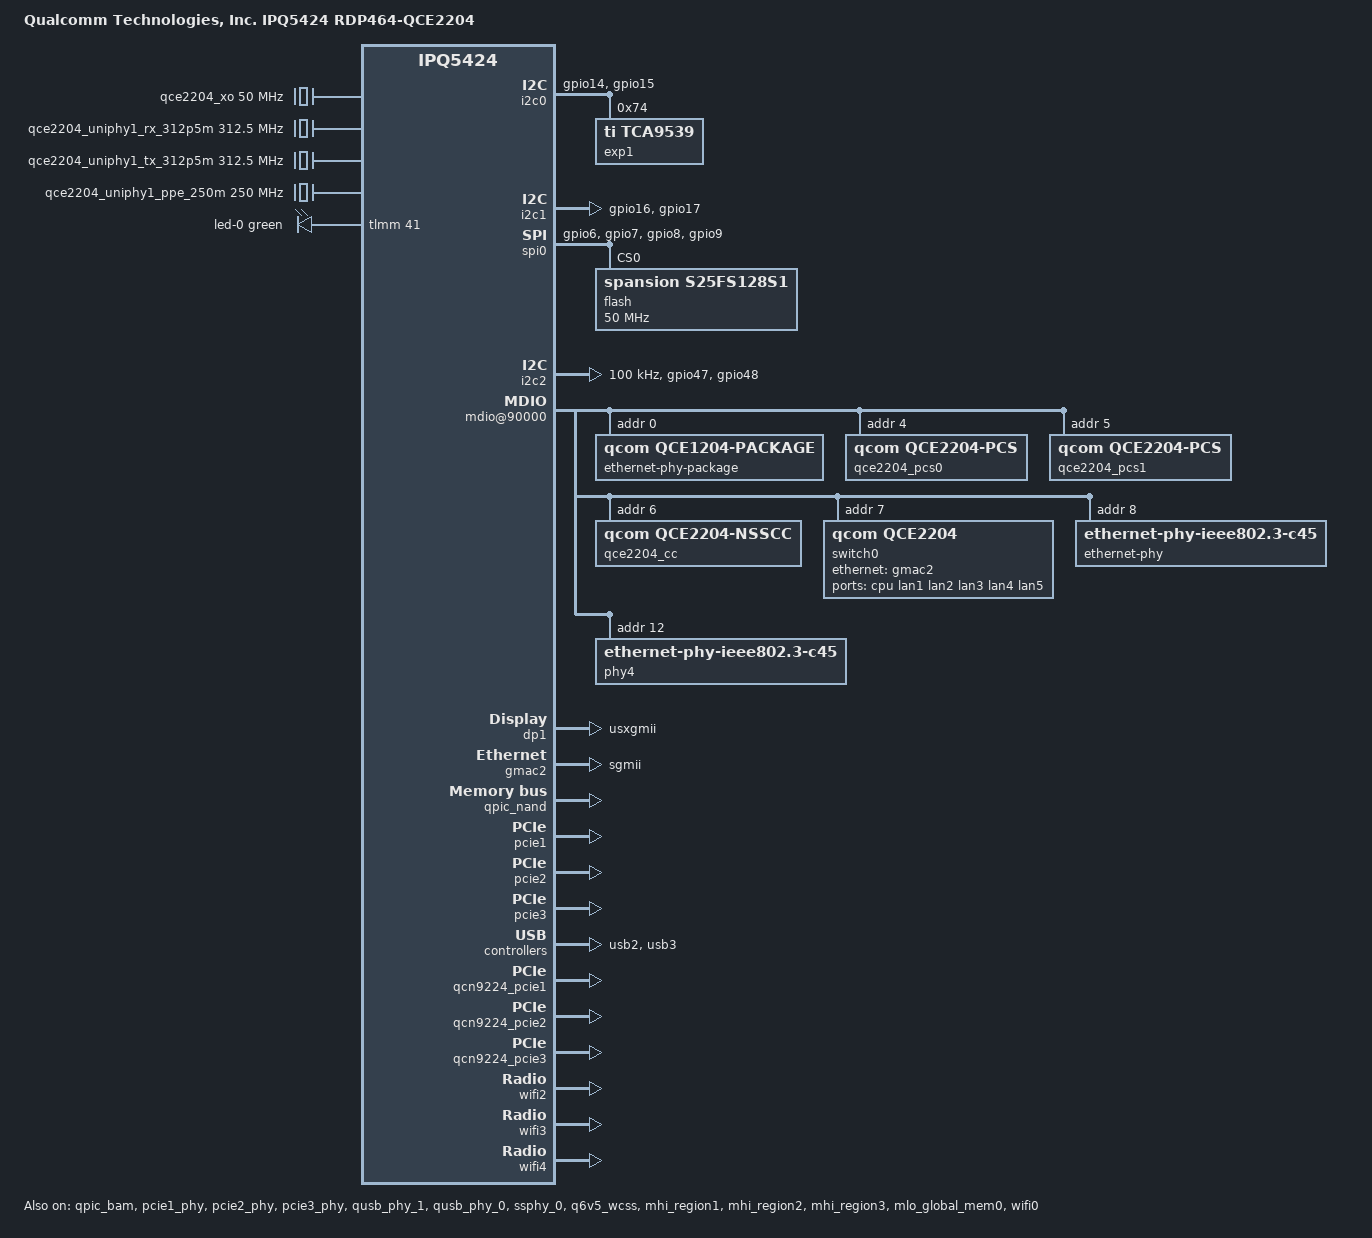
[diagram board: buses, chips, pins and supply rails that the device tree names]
// SPDX-License-Identifier: (GPL-2.0+ OR BSD-3-Clause)
/*
 * IPQ5424 RDP464-QCE2204 board device tree source
 *
 * Copyright (c) 2020-2021 The Linux Foundation. All rights reserved.
 * Copyright (c) Qualcomm Technologies, Inc. and/or its subsidiaries.
 */

/dts-v1/;

#include "ipq5424-rdp-common.dtsi"
#ifdef __IPQ_MEM_PROFILE_512_MB__
#include "ipq5424-512MB-default-memory.dtsi"
#else
#include "ipq5424-default-memory.dtsi"
#endif
#include <dt-bindings/clock/qcom,qce2204-nsscc.h>
#include <dt-bindings/clock/qcom,qce2204-pcs.h>
#include <dt-bindings/reset/qcom,qce2204-nsscc.h>

/ {
	model = "Qualcomm Technologies, Inc. IPQ5424 RDP464-QCE2204";
	compatible = "qcom,ipq5424-rdp464-qce2204", "qcom,ipq5424";

	clocks {
		qce2204_xo: qce2204-xo {
			compatible = "fixed-clock";
			clock-frequency = <50000000>;
			#clock-cells = <0>;
		};

		qce2204_uniphy1_rx_312p5m: qce2204-uniphy1-rx-312p5m {
			compatible = "fixed-clock";
			clock-frequency = <312500000>;
			#clock-cells = <0>;
		};

		qce2204_uniphy1_tx_312p5m: qce2204-uniphy1-tx-312p5m {
			compatible = "fixed-clock";
			clock-frequency = <312500000>;
			#clock-cells = <0>;
		};

		qce2204_uniphy1_ppe_250m: qce2204-uniphy1-ppe-250m {
			compatible = "fixed-clock";
			clock-frequency = <250000000>;
			#clock-cells = <0>;
		};
	};

	soc@0 {
		/delete-node/ apc-gpio-regulator;

		qupv3: geniqup@1ac0000 {

			i2c0: i2c@1a88000 {
				pinctrl-0 = <&qup_i2c0_default>;
				pinctrl-names = "default";
				status = "okay";

				exp1: gpio@74 {
					compatible = "ti,tca9539";
					reg = <0x74>;

					#gpio-cells = <2>;
					gpio-controller;

					io-exp-hog0 {
						gpio-hog;
						gpios = <0 GPIO_ACTIVE_HIGH>;
						output-low;
						line-name = "io_exp_gpio0";
					};

					io-exp-hog1 {
						gpio-hog;
						gpios = <1 GPIO_ACTIVE_HIGH>;
						output-high;
						line-name = "io_exp_gpio1";
					};

					io-exp-hog2 {
						gpio-hog;
						gpios = <2 GPIO_ACTIVE_HIGH>;
						output-low;
						line-name = "io_exp_gpio2";
					};

					io-exp-hog3 {
						gpio-hog;
						gpios = <3 GPIO_ACTIVE_HIGH>;
						output-high;
						line-name = "io_exp_gpio3";
					};

					io-exp-hog4 {
						gpio-hog;
						gpios = <4 GPIO_ACTIVE_HIGH>;
						output-high;
						line-name = "io_exp_gpio4";
					};

					io-exp-hog5 {
						gpio-hog;
						gpios = <5 GPIO_ACTIVE_HIGH>;
						output-high;
						line-name = "io_exp_gpio5";
					};

					io-exp-hog6 {
						gpio-hog;
						gpios = <6 GPIO_ACTIVE_HIGH>;
						output-high;
						line-name = "io_exp_gpio6";
					};

					io-exp-hog7 {
						gpio-hog;
						gpios = <7 GPIO_ACTIVE_HIGH>;
						output-high;
						line-name = "io_exp_gpio7";
					};

					io-exp-hog8 {
						gpio-hog;
						gpios = <8 GPIO_ACTIVE_HIGH>;
						output-high;
						line-name = "io_exp_gpio8";
					};

					io-exp-hog9 {
						gpio-hog;
						gpios = <9 GPIO_ACTIVE_HIGH>;
						output-high;
						line-name = "io_exp_gpio9";
					};

				};
			};

			i2c1: i2c@1a8c000 {
				pinctrl-0 = <&qup_i2c1_default>;
				pinctrl-names = "default";
				status = "okay";
			};

			spi0: spi@1a90000 {
				pinctrl-0 = <&qup_spi0_default>;
				pinctrl-names = "default";
				status = "okay";

				flash@0 {
					compatible = "spansion,s25fs128s1", "jedec,spi-nor";
					#address-cells = <1>;
					#size-cells = <1>;
					reg = <0>;
					spi-max-frequency = <50000000>;
				};
			};

			/delete-node/ spi@1a94000;

			i2c2: i2c@1a94000 {
				compatible = "qcom,geni-i2c";
				reg = <0x1a94000 0x4000>;
				/* i2c2 shares spi1 clock, so use spi1_clk as per gcc driver */
				clocks = <&gcc GCC_QUPV3_SPI1_CLK>;
				clock-names = "se";
				clock-frequency = <100000>;
				assigned-clocks = <&gcc GCC_QUPV3_SPI1_CLK>;
				assigned-clock-rates = <32000000>;
				interrupts = <GIC_SPI 344 IRQ_TYPE_LEVEL_HIGH>;
				pinctrl-0 = <&qup_i2c2_default>;
				pinctrl-names = "default";
				status = "okay";
			};
		};

		leds {
			compatible = "gpio-leds";
			pinctrl-0 = <&gpio_leds_default>;
			pinctrl-names = "default";

			led-0 {
				color = <LED_COLOR_ID_GREEN>;
				function = LED_FUNCTION_WLAN;
				gpios = <&tlmm 41 GPIO_ACTIVE_HIGH>;
				linux,default-trigger = "phy0tx";
				default-state = "off";
			};
		};

		mdio@90000 {
			/* Hold GPIO18 reset for Manhattan */
			/* GPIO36 is for port 1 QCA81xx PHY */
			/* GPIO37 is for huntington switch */
			phy-reset-gpio = <
				&tlmm 18 GPIO_ACTIVE_HIGH
				&tlmm 36 GPIO_ACTIVE_LOW
				&tlmm 37 GPIO_ACTIVE_LOW
			>;

			/* Delete properties from ipq5424-rdp-common.dtsi */
			/delete-property/ phyaddr_fixup;
			/delete-property/ uniphyaddr_fixup;
			/delete-property/ mdio_clk_fixup;

			/* Delete PHY nodes from ipq5424-rdp-common.dtsi */
			/delete-node/ ethernet-phy@0;
			/delete-node/ ethernet-phy@1;
			/delete-node/ ethernet-phy@2;
			/delete-node/ ethernet-phy@3;

			/* Delete switch node from ipq5424-rdp-common.dtsi */
			/delete-node/ switch0@10;

			ethernet-phy-package@0 {
				compatible = "qcom,qce1204-package";
				reg = <0x0>;
				qcom,package-mode = "internal";
				#address-cells = <1>;
				#size-cells = <0>;

				phy0: ethernet-phy@0 {
					compatible ="ethernet-phy-ieee802.3-c45";
					reg = <0x0>;
					clocks = <&qce2204_cc QCE2204_NSSCC_MAC1_GEPHY0_TX_CLK>,
						 <&qce2204_cc QCE2204_NSSCC_MAC1_GEPHY0_RX_CLK>,
						 <&qce2204_cc QCE2204_NSSCC_GEPHY0_SYS_CLK>;
					clock-names = "tx_clk",
						      "rx_clk",
						      "sys_clk";
					resets = <&qce2204_cc QCE2204_NSSCC_MAC1_GEPHY0_TX_ARES>,
						 <&qce2204_cc QCE2204_NSSCC_MAC1_GEPHY0_RX_ARES>,
						 <&qce2204_cc QCE2204_NSSCC_GEPHY0_SYS_ARES>;
					reset-names = "tx_reset",
						      "rx_reset",
						      "sys_reset";
				};
				phy1: ethernet-phy@1 {
					compatible ="ethernet-phy-ieee802.3-c45";
					reg = <0x1>;
					clocks = <&qce2204_cc QCE2204_NSSCC_MAC2_GEPHY1_TX_CLK>,
						 <&qce2204_cc QCE2204_NSSCC_MAC2_GEPHY1_RX_CLK>,
						 <&qce2204_cc QCE2204_NSSCC_GEPHY1_SYS_CLK>;
					clock-names = "tx_clk",
						      "rx_clk",
						      "sys_clk";
					resets = <&qce2204_cc QCE2204_NSSCC_MAC2_GEPHY1_TX_ARES>,
						 <&qce2204_cc QCE2204_NSSCC_MAC2_GEPHY1_RX_ARES>,
						 <&qce2204_cc QCE2204_NSSCC_GEPHY1_SYS_ARES>;
					reset-names = "tx_reset",
						      "rx_reset",
						      "sys_reset";
				};
				phy2: ethernet-phy@2 {
					compatible ="ethernet-phy-ieee802.3-c45";
					reg = <0x2>;
					clocks = <&qce2204_cc QCE2204_NSSCC_MAC3_GEPHY2_TX_CLK>,
						 <&qce2204_cc QCE2204_NSSCC_MAC3_GEPHY2_RX_CLK>,
						 <&qce2204_cc QCE2204_NSSCC_GEPHY2_SYS_CLK>;
					clock-names = "tx_clk",
						      "rx_clk",
						      "sys_clk";
					resets = <&qce2204_cc QCE2204_NSSCC_MAC3_GEPHY2_TX_ARES>,
						 <&qce2204_cc QCE2204_NSSCC_MAC3_GEPHY2_RX_ARES>,
						 <&qce2204_cc QCE2204_NSSCC_GEPHY2_SYS_ARES>;
					reset-names = "tx_reset",
						      "rx_reset",
						      "sys_reset";
				};
				phy3: ethernet-phy@3 {
					compatible ="ethernet-phy-ieee802.3-c45";
					reg = <0x3>;
					clocks = <&qce2204_cc QCE2204_NSSCC_MAC4_GEPHY3_TX_CLK>,
						 <&qce2204_cc QCE2204_NSSCC_MAC4_GEPHY3_RX_CLK>,
						 <&qce2204_cc QCE2204_NSSCC_GEPHY3_SYS_CLK>;
					clock-names = "tx_clk",
						      "rx_clk",
						      "sys_clk";
					resets = <&qce2204_cc QCE2204_NSSCC_MAC4_GEPHY3_TX_ARES>,
						 <&qce2204_cc QCE2204_NSSCC_MAC4_GEPHY3_RX_ARES>,
						 <&qce2204_cc QCE2204_NSSCC_GEPHY3_SYS_ARES>;
					reset-names = "tx_reset",
						      "rx_reset",
						      "sys_reset";
				};
			};

			qce2204_pcs0: ethernet-phy@4 {
				compatible = "qcom,qce2204-pcs";
				reg = <4>;
				clocks = <&qce2204_cc QCE2204_NSSCC_SRDS0_SYS_CLK>,
					 <&qce2204_cc QCE2204_NSSCC_MAC5_RX_SRDS0_CLK>,
					 <&qce2204_cc QCE2204_NSSCC_MAC5_TX_SRDS0_CLK>,
					 <&qce2204_cc QCE2204_NSSCC_MAC5_RX_SRDS0_CH0_XGMII_CLK>,
					 <&qce2204_cc QCE2204_NSSCC_MAC5_TX_SRDS0_CH0_XGMII_CLK>;
				clock-names = "sys",
					      "rx",
					      "tx",
					      "xgmii_rx",
					      "xgmii_tx";
				resets = <&qce2204_cc QCE2204_NSSCC_SRDS0_SYS_ARES>,
					 <&qce2204_cc QCE2204_NSSCC_MAC5_RX_SRDS0_ARES>,
					 <&qce2204_cc QCE2204_NSSCC_MAC5_TX_SRDS0_ARES>,
					 <&qce2204_cc QCE2204_NSSCC_MAC5_RX_SRDS0_CH0_XGMII_ARES>,
					 <&qce2204_cc QCE2204_NSSCC_MAC5_TX_SRDS0_CH0_XGMII_ARES>,
					 <&qce2204_cc QCE2204_NSSCC_SRDS0_XPCS_ARES>;
				reset-names = "sys",
					      "rx",
					      "tx",
					      "xgmii_rx",
					      "xgmii_tx",
					      "xpcs";
				initial_mode = "usxgmii";
				#clock-cells = <1>;
				assigned-clocks = <&qce2204_cc QCE2204_NSSCC_SRDS0_SYS_CLK>;
				assigned-clock-rates = <25000000>;
			};

			qce2204_pcs1: ethernet-phy@5 {
				compatible = "qcom,qce2204-pcs";
				reg = <5>;
				clocks = <&qce2204_cc QCE2204_NSSCC_SRDS1_SYS_CLK>,
					 <&qce2204_cc QCE2204_NSSCC_MAC1_SRDS1_CH0_RX_CLK>,
					 <&qce2204_cc QCE2204_NSSCC_MAC1_SRDS1_CH0_TX_CLK>,
					 <&qce2204_cc QCE2204_NSSCC_MAC0_1_SRDS1_CH0_XGMII_RX_CLK>,
					 <&qce2204_cc QCE2204_NSSCC_MAC0_1_SRDS1_CH0_XGMII_TX_CLK>;
				clock-names = "sys",
					      "rx",
					      "tx",
					      "xgmii_rx",
					      "xgmii_tx";
				resets = <&qce2204_cc QCE2204_NSSCC_SRDS1_SYS_ARES>,
					 <&qce2204_cc QCE2204_NSSCC_MAC1_SRDS1_CH0_RX_ARES>,
					 <&qce2204_cc QCE2204_NSSCC_MAC1_SRDS1_CH0_TX_ARES>,
					 <&qce2204_cc QCE2204_NSSCC_MAC0_1_SRDS1_CH0_XGMII_RX_ARES>,
					 <&qce2204_cc QCE2204_NSSCC_MAC0_1_SRDS1_CH0_XGMII_TX_ARES>,
					 <&qce2204_cc QCE2204_NSSCC_SRDS1_XPCS_ARES>;
				reset-names = "sys",
					      "rx",
					      "tx",
					      "xgmii_rx",
					      "xgmii_tx",
					      "xpcs";
				initial_mode = "10gbase-r";
				#clock-cells = <1>;
				assigned-clocks = <&qce2204_cc QCE2204_NSSCC_SRDS1_SYS_CLK>;
				assigned-clock-rates = <25000000>;
			};

			/* Clock controller */
			qce2204_cc: clock-controller@6 {
				compatible = "qcom,qce2204-nsscc";
				reg = <6>;
				#clock-cells = <1>;
				#reset-cells = <1>;
				clocks = <&qce2204_xo>,
					 <&qce2204_pcs0 QCE2204_PCS_RX_CLK>,
					 <&qce2204_pcs0 QCE2204_PCS_TX_CLK>,
					 <&qce2204_pcs1 QCE2204_PCS_RX_CLK>,
					 <&qce2204_pcs1 QCE2204_PCS_TX_CLK>,
					 <&qce2204_uniphy1_ppe_250m>,
					 <0>,
					 <0>,
					 <0>,
					 <&qce2204_uniphy1_tx_312p5m>;
				clock-names = "xo",
					      "uniphy0_rx",
					      "uniphy0_tx",
					      "uniphy1_rx",
					      "uniphy1_tx",
					      "uniphy1_ppe_250m",
					      "uniphy0_rx_312p5m",
					      "uniphy0_tx_312p5m",
					      "uniphy1_rx_312p5m",
					      "uniphy1_tx_312p5m";
				assigned-clocks = <&qce2204_cc QCE2204_NSSCC_SRDS0_RX_MUX_SEL>,
					      <&qce2204_cc QCE2204_NSSCC_SRDS0_TX_MUX_SEL>,
					      <&qce2204_cc QCE2204_NSSCC_SRDS0_XGMII_RX_MUX_SEL>,
					      <&qce2204_cc QCE2204_NSSCC_SRDS0_XGMII_TX_MUX_SEL>;
				assigned-clock-parents = <&qce2204_cc QCE2204_NSSCC_MAC5_RX_DIV_CLK_SRC>,
					      <&qce2204_cc QCE2204_NSSCC_MAC5_TX_DIV_CLK_SRC>,
					      <&qce2204_cc QCE2204_NSSCC_MAC5_RX_DIV_CLK_SRC>,
					      <&qce2204_cc QCE2204_NSSCC_MAC5_TX_DIV_CLK_SRC>;
			};

			switch0@7 {
				compatible = "qcom,qce2204";
				#address-cells = <1>;
				#size-cells = <0>;
				reg = <0x7>;
				status = "okay";

				clocks = <&qce2204_cc QCE2204_NSSCC_AHB_CLK>,
					 <&qce2204_cc QCE2204_NSSCC_SWITCH_CORE_CLK>,
					 <&qce2204_cc QCE2204_NSSCC_SWITCH_IPE_CLK>,
					 <&qce2204_cc QCE2204_NSSCC_SWITCH_BTQ_CLK>,
					 <&qce2204_cc QCE2204_NSSCC_SWITCH_CFG_CLK>,
					 <&qce2204_cc QCE2204_NSSCC_APB_BRIDGE_CLK>;
				clock-names = "ahb",
					      "core",
					      "ipe",
					      "btq",
					      "cfg",
					      "apb";
				resets = <&qce2204_cc QCE2204_NSSCC_SWITCH_CORE_BCR>,
					<&qce2204_cc QCE2204_NSSCC_SWITCH_CORE_ARES>,
					<&qce2204_cc QCE2204_NSSCC_SWITCH_CFG_ARES>;
				reset-names = "core",
						"core_clk_reset",
						"cfg_clk_reset";

				ports {
					#address-cells = <1>;
					#size-cells = <0>;

					port@0 {
						reg = <0>;
						label = "cpu";
						ethernet = <&gmac2>;
						dsa-tag-protocol = "qca_8021q";
						phy-mode = "10gbase-r";
						pcsphy-handle = <&qce2204_pcs1>;
						clocks = <&qce2204_cc QCE2204_NSSCC_MAC0_TX_CLK>,
							 <&qce2204_cc QCE2204_NSSCC_MAC0_RX_CLK>;
						clock-names = "tx",
							      "rx";
						resets = <&qce2204_cc QCE2204_NSSCC_MAC0_TX_ARES>,
							 <&qce2204_cc QCE2204_NSSCC_MAC0_RX_ARES>;
						reset-names = "tx",
							      "rx";
						fixed-link {
							speed = <10000>;
							full-duplex;
							pause;
						};
					};

					port@1 {
						reg = <1>;
						label = "lan1";
						phy-handle = <&phy0>;
						phy-mode = "internal";
						clocks = <&qce2204_cc QCE2204_NSSCC_MAC1_TX_CLK>,
							 <&qce2204_cc QCE2204_NSSCC_MAC1_RX_CLK>;
						clock-names = "tx",
							      "rx";
						resets = <&qce2204_cc QCE2204_NSSCC_MAC1_TX_ARES>,
							 <&qce2204_cc QCE2204_NSSCC_MAC1_RX_ARES>;
						reset-names = "tx",
							      "rx";
					};

					port@2 {
						reg = <2>;
						label = "lan2";
						phy-handle = <&phy1>;
						phy-mode = "internal";
						clocks = <&qce2204_cc QCE2204_NSSCC_MAC2_TX_CLK>,
							 <&qce2204_cc QCE2204_NSSCC_MAC2_RX_CLK>;
						clock-names = "tx",
							      "rx";
						resets = <&qce2204_cc QCE2204_NSSCC_MAC2_TX_ARES>,
							 <&qce2204_cc QCE2204_NSSCC_MAC2_RX_ARES>;
						reset-names = "tx",
							      "rx";
					};

					port@3 {
						reg = <3>;
						label = "lan3";
						phy-handle = <&phy2>;
						phy-mode = "internal";
						clocks = <&qce2204_cc QCE2204_NSSCC_MAC3_TX_CLK>,
							 <&qce2204_cc QCE2204_NSSCC_MAC3_RX_CLK>;
						clock-names = "tx",
							      "rx";
						resets = <&qce2204_cc QCE2204_NSSCC_MAC3_TX_ARES>,
							 <&qce2204_cc QCE2204_NSSCC_MAC3_RX_ARES>;
						reset-names = "tx",
							      "rx";
					};

					port@4 {
						reg = <4>;
						label = "lan4";
						phy-handle = <&phy3>;
						phy-mode = "internal";
						clocks = <&qce2204_cc QCE2204_NSSCC_MAC4_TX_CLK>,
							 <&qce2204_cc QCE2204_NSSCC_MAC4_RX_CLK>;
						clock-names = "tx",
							      "rx";
						resets = <&qce2204_cc QCE2204_NSSCC_MAC4_TX_ARES>,
							 <&qce2204_cc QCE2204_NSSCC_MAC4_RX_ARES>;
						reset-names = "tx",
							      "rx";
					};

					port@5 {
						reg = <5>;
						label = "lan5";
						phy-handle = <&phy4>;
						pcsphy-handle = <&qce2204_pcs0>;
						phy-mode = "usxgmii";
						clocks = <&qce2204_cc QCE2204_NSSCC_MAC5_TX_CLK>,
							 <&qce2204_cc QCE2204_NSSCC_MAC5_RX_CLK>;
						clock-names = "tx",
							      "rx";
						resets = <&qce2204_cc QCE2204_NSSCC_MAC5_TX_ARES>,
							 <&qce2204_cc QCE2204_NSSCC_MAC5_RX_ARES>;
						reset-names = "tx",
							      "rx";
					};
				};
			};

			ethernet-phy@8 {
				reg = <8>;
				compatible ="ethernet-phy-ieee802.3-c45";
			};

			phy4: ethernet-phy@12 {
				reg = <12>;
				compatible ="ethernet-phy-ieee802.3-c45";
			};
		};

		ess-instance {
			num_devices = <0x2>;
#ifdef __CONFIG_IO_COHERENCY__
			dma-coherent;
#endif
			ess-switch@3a000000 {
#ifdef __CONFIG_IO_COHERENCY__
				dma-coherent;
#endif
				switch_cpu_bmp = <0x1>;  /* cpu port bitmap */
				switch_lan_bmp = <0x4>; /* lan port bitmap */
				switch_wan_bmp = <0x2>; /* wan port bitmap */
				switch_mac_mode = <0xd>; /* mac mode for uniphy instance0*/
				switch_mac_mode1 = <0xe>; /* mac mode for uniphy instance1*/
				switch_mac_mode2 = <0xff>; /* mac mode for uniphy instance2*/
				tm_tick_mode = <1>; /* marina 3X10G mode */

				qcom,port_phyinfo {
					port@0 {
						port_id = <1>;
						phy_address = <8>;
						ethernet-phy-ieee802.3-c45;
					};
					port@1 {
						port_id = <2>;
						forced-speed = <10000>;
						forced-duplex = <1>;
						switch_external {
							switch_handle = <&switch1>;
							switch_cpu_port = <0>;
						};
						fixed-link {
							speed = <10000>;
							full-duplex;
							pause;
						};
					};
					/delete-node/ port@2;
				};
			};

			ess-switch1@1 {
#ifdef __CONFIG_IO_COHERENCY__
				dma-coherent;
#endif
				compatible = "qcom,ess-switch-qce22xx";
				reg = <0x7>;
				switch_lan_bmp = <0x3e>;
				switch_mac_mode = <0xe>;
				/delete-node/ qcom,port_ledinfo;

				qcom,port_phyinfo {
					port@0 {
						forced-speed = <10000>;
					};
					port@1 {
						phy_address = <0>;
						ethernet-phy-ieee802.3-c45;
					};
					port@2 {
						phy_address = <1>;
						ethernet-phy-ieee802.3-c45;
					};
					port@3 {
						phy_address = <2>;
						ethernet-phy-ieee802.3-c45;
					};
					port@4 {
						phy_address = <3>;
						ethernet-phy-ieee802.3-c45;
					};
					port@5 {
						port_id = <5>;
						phy_address = <12>;
						ethernet-phy-ieee802.3-c45;
					};
				};
			};
		};

		dp1 {
			device_type = "network";
			compatible = "qcom,nss-dp";
#ifdef __CONFIG_IO_COHERENCY__
			dma-coherent;
#endif
			qcom,id = <1>;
			reg = <0x3A500000 0x4000>;
			qcom,mactype = <1>;
			local-mac-address = [000000000000];
			qcom,phy-mdio-addr = <8>;
			qcom,link-poll = <1>;
			phy-mode = "usxgmii";
		};

		gmac2:dp2 {
			device_type = "network";
			compatible = "qcom,nss-dp";
#ifdef __CONFIG_IO_COHERENCY__
			dma-coherent;
#endif
			qcom,id = <2>;
			reg = <0x3A504000 0x4000>;
			qcom,mactype = <1>;
			local-mac-address = [000000000000];
			qcom,mht-dev = <1>;
			qcom,is_switch_connected = <1>;
			phy-mode = "sgmii";
			qcom,ppe-offload-disabled = <1>;
		};

		/* EDMA host driver configuration for the board */
		edma@3ab00000 {
#ifdef __CONFIG_IO_COHERENCY__
			dma-coherent;
#endif
			qcom,txdesc-ring-start = <4>;		/* Tx desc ring start ID */
			qcom,txdesc-rings = <16>;		/* Total number of Tx desc rings to be provisioned */
			qcom,mht-txdesc-rings = <12>;		/* Extra Tx desc rings to be provisioned for MHT SW ports */
			qcom,txcmpl-ring-start = <4>;		/* Tx complete ring start ID */
			qcom,txcmpl-rings = <16>;		/* Total number of Tx complete rings to be provisioned */
			qcom,mht-txcmpl-rings = <12>;		/* Extra Tx complete rings to be provisioned for mht sw ports. */
			qcom,rxfill-ring-start = <4>;		/* Rx fill ring start ID */
			qcom,rxfill-rings = <4>;		/* Total number of Rx fill rings to be provisioned */
			qcom,rxdesc-ring-start = <20>;		/* Rx desc ring start ID */
			qcom,rxdesc-rings = <4>;		/* Total number of Rx desc rings to be provisioned */
			qcom,rx-page-mode = <0>;		/* Rx fill ring page mode */
			qcom,tx-map-priority-level = <1>;	/* Tx priority level per port */
			qcom,rx-map-priority-level = <1>;	/* Rx priority level per core */
			qcom,ppeds-num = <4>;			/* Number of PPEDS nodes */
			/* PPE-DS node format: <Rx-fill Tx-cmpl Rx Tx Queue-base Queue-count> */
			qcom,ppeds-map = <1 1 1 1 32 8>,	/* PPEDS Node #0 ring and queue map */
					<2 2 2 2 40 8>,		/* PPEDS Node #1 ring and queue map */
					<3 3 3 3 48 8>,		/* PPEDS Node #2 ring and queue map */
					<0 0 0 0 56 8>;		/* PPEDS Node #3 ring and queue map */
			qcom,txdesc-map = <4 5 6 7>,		/* Port1 per-core Tx ring map */
					<8 9 10 11>,		/* Port2 per-core Tx ring map */
					<12 13 14 15>,		/* MHT-Port1 per-core Tx ring map */
					<16 17 18 19>,		/* MHT-Port2 per-core Tx ring map */
					<20 21 22 23>,		/* MHT-Port3 per-core Tx ring map */
					<24 25 26 27>,		/* MHT-Port4 per-core Tx ring map */
					<28 29 30 31>;		/* Used only for packets from VP */
			qcom,txdesc-fc-grp-map = <1 2 3 4 5 6>;	/* Per GMAC flow control group map */
			qcom,rxfill-map = <4 5 6 7>;		/* Per-core Rx fill ring map */
			qcom,rxdesc-map = <20 21 22 23>;	/* Per-core Rx desc ring map */
			qcom,rx-queue-start = <0>;		/* Rx queue start */
			qcom,rx-ring-queue-map = <0 8 16 24>,	/* Priority 0 queues per-core Rx ring map */
						<1 9 17 25>,	/* Priority 1 queues per-core Rx ring map */
						<2 10 18 26>,	/* Priority 2 queues per-core Rx ring map */
						<3 11 19 27>,	/* Priority 3 queues per-core Rx ring map */
						<4 12 20 28>,	/* Priority 4 queues per-core Rx ring map */
						<5 13 21 29>,	/* Priority 5 queues per-core Rx ring map */
						<6 14 22 30>,	/* Priority 6 queues per-core Rx ring map */
						<7 15 23 31>;	/* Priority 7 queues per-core Rx ring map */
			interrupts = <0 286 4>,			/* Tx complete ring id #4 IRQ info */
					<0 287 4>,		/* Tx complete ring id #5 IRQ info */
					<0 288 4>,		/* Tx complete ring id #6 IRQ info */
					<0 289 4>,		/* Tx complete ring id #7 IRQ info */
					<0 290 4>,		/* Tx complete ring id #8 IRQ info */
					<0 291 4>,		/* Tx complete ring id #9 IRQ info */
					<0 292 4>,		/* Tx complete ring id #10 IRQ info */
					<0 293 4>,		/* Tx complete ring id #11 IRQ info */
					<0 294 4>,		/* Tx complete ring id #12 IRQ info */
					<0 295 4>,		/* Tx complete ring id #13 IRQ info */
					<0 296 4>,		/* Tx complete ring id #14 IRQ info */
					<0 297 4>,		/* Tx complete ring id #15 IRQ info */
					<0 298 4>,		/* Tx complete ring id #16 IRQ info */
					<0 299 4>,		/* Tx complete ring id #17 IRQ info */
					<0 300 4>,		/* Tx complete ring id #18 IRQ info */
					<0 301 4>,		/* Tx complete ring id #19 IRQ info */
					<0 270 4>,		/* Rx desc ring id #20 IRQ info */
					<0 271 4>,		/* Rx desc ring id #21 IRQ info */
					<0 272 4>,		/* Rx desc ring id #22 IRQ info */
					<0 273 4>,		/* Rx desc ring id #23 IRQ info */
					<0 314 4>,		/* Misc error IRQ info */
					<0 278 4>,		/* RxFill ring id #4 IRQ info */
					<0 279 4>,		/* RxFill ring id #5 IRQ info */
					<0 280 4>,		/* RxFill ring id #6 IRQ info */
					<0 281 4>,		/* RxFill ring id #7 IRQ info */
					<0 283 4>,		/* PPEDS Node #0(TxComp ring id #1) TxComplete IRQ info */
					<0 251 4>,		/* PPEDS Node #0(Rx Desc ring id #1) Rx Desc IRQ info */
					<0 275 4>,		/* PPEDS Node #0(RxFill Desc ring id #1) Rx Fill IRQ info */
					<0 284 4>,		/* PPEDS Node #1(TxComp ring id #2) TxComplete IRQ info */
					<0 252 4>,		/* PPEDS Node #1(Rx Desc ring id #2) Rx Desc IRQ info */
					<0 276 4>,		/* PPEDS Node #1(RxFill Desc ring id #2) Rx Fill IRQ info */
					<0 285 4>,		/* PPEDS Node #2(TxComp ring id #3) TxComplete IRQ info */
					<0 253 4>,		/* PPEDS Node #2(Rx Desc ring id #3) Rx Desc IRQ info */
					<0 277 4>,		/* PPEDS Node #2(RxFill Desc ring id #3) Rx Fill IRQ info */
					<0 282 4>,		/* PPEDS Node #3(TxComp ring id #0) TxComplete IRQ info */
					<0 250 4>,		/* PPEDS Node #3(Rx Desc ring id #0) Rx Desc IRQ info */
					<0 274 4>,		/* PPEDS Node #3(RxFill Desc ring id #0) Rx Fill IRQ info */
					<0 302 4>,		/* MHT port Tx complete ring id #20 IRQ info */
					<0 303 4>,		/* MHT port Tx complete ring id #21 IRQ info */
					<0 304 4>,		/* MHT port Tx complete ring id #22 IRQ info */
					<0 305 4>,		/* MHT port Tx complete ring id #23 IRQ info */
					<0 306 4>,		/* MHT port Tx complete ring id #24 IRQ info */
					<0 307 4>,		/* MHT port Tx complete ring id #25 IRQ info */
					<0 308 4>,		/* MHT port Tx complete ring id #26 IRQ info */
					<0 309 4>,		/* MHT port Tx complete ring id #27 IRQ info */
					<0 310 4>,		/* MHT port Tx complete ring id #28 IRQ info */
					<0 311 4>,		/* MHT port Tx complete ring id #29 IRQ info */
					<0 312 4>,		/* MHT port Tx complete ring id #30 IRQ info */
					<0 313 4>;		/* MHT port Tx complete ring id #31 IRQ info */
		};

		wsi: wsi {
			id = <0>;
			num_chip = <4>;
			chip_info = <0 2 1 3>,
				    <1 2 0 2>,
				    <2 2 3 1>,
				    <3 2 2 0>;
			status = "okay";
		};
	};
};

&CPU0 {
	/delete-property/ cpu-supply;
};

&CPU1 {
	/delete-property/ cpu-supply;
};

&CPU2 {
	/delete-property/ cpu-supply;
};

&CPU3 {
	/delete-property/ cpu-supply;
};

&qpic_bam {
	status = "okay";
};

&qpic_nand {
	status = "okay";
};

&sdhc {
	max-frequency = <192000000>;
	bus-width = <4>;
	mmc-ddr-1_8v;
	mmc-hs200-1_8v;
	non-removable;
	pinctrl-0 = <&sdc_default_state>;
	pinctrl-names = "default";
	status = "disabled";
};

&pcie0 {
	perst-gpio = <&tlmm 25 GPIO_ACTIVE_LOW>;

	pcie0_rp {
		reg = <0 0 0 0 0>;
	};
};

&pcie1_phy {
	status = "okay";
};

&pcie1 {
	status = "okay";
	perst-gpio = <&tlmm 28 GPIO_ACTIVE_LOW>;

	pcie1_rp {
		reg = <0 0 0 0 0>;

		qcom,mhi@1 {
			reg = <0 0 0 0 0>;
			boot-args = <0x2 0x4 0x34 0x3 0x0 0x0     /* MX Rail, GPIO52, Drive strength 0x3 */
					0x4 0x4 0x18 0x3 0x0 0x0  /* RFA1p2 Rail, GPIO24, Drive strength 0x3 */
					0x6 0x4 0x30 0x7 0x0 0x0  /* WSI0, GPIO48, Drive strength 16mA */
					0x7 0x4 0x31 0x7 0x0 0x0  /* WSI1, GPIO49, Drive strength 16mA */
					0x0 0x4 0x0 0x0 0x0 0x0>; /* End of arguments */
			memory-region = <&qcn9224_pcie1>, <&mhi_region1>, <&mlo_global_mem0>;
			memory-region-names = "host-ddr-mem", "mhi-region", "mlo-global-mem";
			qcom,board_id = <0x21>;
			qcom,wsi = <&wsi>;
			qcom,wsi_index = <2>;
			ports {
				#address-cells = <1>;
				#size-cells = <0>;

				port@0 {
					reg = <0>;

					wifi1_wsi_tx: endpoint {
						remote-endpoint = <&wifi2_wsi_rx>;
					};
				};

				port@1 {
					reg = <1>;

					wifi1_wsi_rx: endpoint {
						remote-endpoint = <&wifi3_wsi_tx>;
					};
				};
			};
		};
	};
};

&pcie2_phy {
	status = "okay";
};

&pcie2 {
	status = "okay";
	perst-gpio = <&tlmm 31 GPIO_ACTIVE_LOW>;

	pcie2_rp {
		reg = <0 0 0 0 0>;

		qcom,mhi@2 {
			reg = <0 0 0 0 0>;
			boot-args = <0x2 0x4 0x34 0x3 0x0 0x0     /* MX Rail, GPIO52, Drive strength 0x3 */
					0x4 0x4 0x18 0x3 0x0 0x0  /* RFA1p2 Rail, GPIO24, Drive strength 0x3 */
					0x6 0x4 0x30 0x7 0x0 0x0  /* WSI0, GPIO48, Drive strength 16mA */
					0x7 0x4 0x31 0x7 0x0 0x0  /* WSI1, GPIO49, Drive strength 16mA */
					0x0 0x4 0x0 0x0 0x0 0x0>; /* End of arguments */
			memory-region = <&qcn9224_pcie2>, <&mhi_region2>, <&mlo_global_mem0>;
			memory-region-names = "host-ddr-mem", "mhi-region", "mlo-global-mem";
			qcom,board_id = <0x26>;
			qcom,wsi = <&wsi>;
			qcom,wsi_index = <3>;
			ports {
				#address-cells = <1>;
				#size-cells = <0>;

				port@0 {
					reg = <0>;

					wifi2_wsi_tx: endpoint {
						remote-endpoint = <&wifi0_wsi_rx>;
					};
				};

				port@1 {
					reg = <1>;

					wifi2_wsi_rx: endpoint {
						remote-endpoint = <&wifi1_wsi_tx>;
					};
				};
			};
		};
	};
};

&pcie3_phy {
	status = "okay";
};

&pcie3 {
	status = "okay";
	perst-gpio = <&tlmm 34 GPIO_ACTIVE_LOW>;

	pcie3_rp {
		reg = <0 0 0 0 0>;

		qcom,mhi@3 {
			reg = <0 0 0 0 0>;
			boot-args = <0x2 0x4 0x34 0x3 0x0 0x0     /* MX Rail, GPIO52, Drive strength 0x3 */
					0x4 0x4 0x18 0x3 0x0 0x0  /* RFA1p2 Rail, GPIO24, Drive strength 0x3 */
					0x6 0x4 0x30 0x7 0x0 0x0  /* WSI0, GPIO48, Drive strength 16mA */
					0x7 0x4 0x31 0x7 0x0 0x0  /* WSI1, GPIO49, Drive strength 16mA */
					0x0 0x4 0x0 0x0 0x0 0x0>; /* End of arguments */
			memory-region = <&qcn9224_pcie3>, <&mhi_region3>, <&mlo_global_mem0>;
			memory-region-names = "host-ddr-mem", "mhi-region", "mlo-global-mem";
			qcom,board_id = <0x22>;
			qcom,wsi = <&wsi>;
			qcom,wsi_index = <1>;

			ports {
				#address-cells = <1>;
				#size-cells = <0>;

				port@0 {
					reg = <0>;

					wifi3_wsi_tx: endpoint {
						remote-endpoint = <&wifi1_wsi_rx>;
					};
				};

				port@1 {
					reg = <1>;

					wifi3_wsi_rx: endpoint {
						remote-endpoint = <&wifi0_wsi_tx>;
					};
				};
			};
		};
	};
};

&reg_update {
	aggr-noc-config = <0x00610908 0x80>, /* aggr_noc_pcie1 */
			  <0x00610a08 0x80>, /* aggr_noc_pcie2 */
			  <0x00610b08 0x80>; /* aggr_noc_pcie3 */
};

&qusb_phy_1 {
	vdd-supply = <&vreg_misc_0p925>;
	vdda-pll-supply = <&vreg_misc_1p8>;
	vdda-phy-dpdm-supply = <&vreg_misc_3p3>;

	status = "okay";
};

&usb2 {
	status = "okay";
};

&qusb_phy_0 {
	vdd-supply = <&vreg_misc_0p925>;
	vdda-pll-supply = <&vreg_misc_1p8>;
	vdda-phy-dpdm-supply = <&vreg_misc_3p3>;

	status = "okay";
};

&ssphy_0 {
	vdda-pll-supply = <&vreg_misc_1p8>;
	vdda-phy-supply = <&vreg_misc_0p925>;

	status = "okay";
};

&usb3 {
	status = "okay";
};

&q6v5_wcss {
	status = "okay";
};

&tlmm {
	gpio_leds_default: gpio-leds-default-state {
		pins = "gpio41";
		function = "gpio";
		drive-strength = <4>;
		bias-pull-down;
	};

	pcie0_default_state: pcie0-default-state {
		perst-n-pins {
			pins = "gpio25";
			function = "gpio";
			drive-strength = <8>;
			bias-pull-up;
			output-low;
		};
	};

	pcie1_default_state: pcie1-default-state {
		perst-n-pins {
			pins = "gpio28";
			function = "gpio";
			drive-strength = <8>;
			bias-pull-up;
			output-low;
		};
	};

	pcie2_default_state: pcie2-default-state {
		perst-n-pins {
			pins = "gpio31";
			function = "gpio";
			drive-strength = <8>;
			bias-pull-up;
			output-low;
		};
	};

	pcie3_default_state: pcie3-default-state {
		perst-n-pins {
			pins = "gpio34";
			function = "gpio";
			drive-strength = <8>;
			bias-pull-up;
			output-low;
		};
	};

	/delete-node/ regulator-gpio;

	qup_i2c0_default: qup-i2c0-default-state {
		qup_i2c0_scl {
			pins = "gpio14";
			function = "i2c0_scl";
			drive-strength = <8>;
			bias-pull-up;
		};
		qup_i2c0_sda {
			pins = "gpio15";
			function = "i2c0_sda";
			drive-strength = <8>;
			bias-disable;
		};
	};

	qup_i2c1_default: qup-i2c1-default-state {
		qup_i2c1_scl {
			pins = "gpio16";
			function = "i2c1_scl";
			drive-strength = <8>;
			bias-disable;
		};
		qup_i2c1_sda {
			pins = "gpio17";
			function = "i2c1_sda";
			drive-strength = <8>;
			bias-disable;
		};
	};

	qup_i2c2_default: qup-i2c2-default-state {
		qup_i2c2_scl {
			pins = "gpio47";
			/* i2c2 shares spi1, so map spi10 function as per pinctrl driver */
			function = "spi10";
			drive-strength = <8>;
			bias-disable;
		};

		qup_i2c2_sda {
			pins = "gpio48";
			/* i2c2 shares spi1, so map spi10 function as per pinctrl driver */
			function = "spi10";
			drive-strength = <8>;
			bias-pull-up;
		};
	};

	qup_spi0_default: qup-spi0-default-state {
		qup_spi0_clk {
			pins = "gpio6";
			function = "spi0_clk";
			drive-strength = <4>;
			bias-pull-down;
		};

		qup_spi0_cs {
			pins = "gpio7";
			function = "spi0_cs";
			drive-strength = <4>;
			bias-pull-down;
		};

		qup_spi0_miso {
			pins = "gpio8";
			function = "spi0_miso";
			drive-strength = <4>;
			bias-pull-down;
		};

		qup_spi0_mosi {
			pins = "gpio9";
			function = "spi0_mosi";
			drive-strength = <4>;
			bias-pull-down;
		};
	};

	qup_uart1_default: qup-uart1-default-state {
		qup_uart1_tx: tx-pins {
			pins = "gpio44";
			function = "uart1_tx";
			drive-strength = <4>;
			bias-pull-down;
		};

		qup_uart1_rx: rx-pins {
			pins = "gpio43";
			function = "uart1_rx";
			drive-strength = <4>;
			bias-disable;
		};
	};

	qspi_default_state: qspi-default-state {
		qspi_clock {
			pins = "gpio5";
			function = "qspi_clk";
			drive-strength = <4>;
			bias-pull-down;
		};

		qspi_cs {
			pins = "gpio4";
			function = "qspi_cs";
			drive-strength = <4>;
			bias-disable;
		};

		qspi_data {
			pins = "gpio0", "gpio1", "gpio2", "gpio3";
			function = "qspi_data";
			drive-strength = <4>;
			bias-pull-up;
		};
	};

	sdc_default_state: sdc-default-state {
		clk-pins {
			pins = "gpio5";
			function = "sdc_clk";
			drive-strength = <8>;
			bias-disable;
		};

		cmd-pins {
			pins = "gpio4";
			function = "sdc_cmd";
			drive-strength = <8>;
			bias-pull-up;
		};

		data-pins {
			pins = "gpio0", "gpio1", "gpio2", "gpio3";
			function = "sdc_data";
			drive-strength = <8>;
			bias-pull-up;
		};
	};

	wsi_default_state: wsi-default-state {
		wsi2 {
			pins = "gpio27";
			function = "wsi_clk";
			drive-strength = <16>;
			bias-pull-down;
		};

		wsi3 {
			pins = "gpio29";
			function = "wsi_data";
			drive-strength = <16>;
			bias-pull-down;
		};
	};

	mdio_slv_pins: mdio1-state {
		mux_0 {
			pins = "gpio20";
			function = "mdc_slv";
			drive-strength = <2>;
			bias-pull-up;
		};

		mux_1 {
			pins = "gpio21";
			function = "mdio_slv";
			drive-strength = <2>;
			bias-pull-up;
		};
	};

};

&qcn9224_pcie1 {
	status = "okay";
};

&qcn9224_pcie2 {
	status = "okay";
};

&qcn9224_pcie3 {
	status = "okay";
};

#if defined(__MHI_BUS_RESERVED_DMA_POOL__)
&mhi_region1 {
	status = "okay";
};

&mhi_region2 {
	status = "okay";
};

&mhi_region3 {
	status = "okay";
};
#endif

&mlo_global_mem0 {
#if defined(__IPQ_MEM_PROFILE_512_MB__)
	reg = <0x0 0x96e00000 0x0 0x1800000>;
	status = "okay";
#else
	reg = <0x0 0x9b500000 0x0 0x1800000>;
	status = "okay";
#endif
};

/* 2G radio */
&wifi0 {
	qcom,rproc = <&q6v5_wcss>;
	qcom,tgt-mem-mode = <0>;
	memory-region = <&q6_region>, <&q6_ipq5424_data>, <&mlo_global_mem0>;
	memory-region-names = "q6-region", "host-ddr-mem", "mlo-global-mem";
	qcom,wsi = <&wsi>;
	qcom,wsi_index = <0>;
	qcom,board_id = <0x10>;
	hw_link_id = <0 0>;
	led-gpio = <&tlmm 41 GPIO_ACTIVE_HIGH>;
	probe-order = <1>;
	status = "okay";
	qcom,wsi-controller;

	ports {
		#address-cells = <1>;
		#size-cells = <0>;

		port@0 {
			reg = <0>;

			wifi0_wsi_tx: endpoint {
				remote-endpoint = <&wifi3_wsi_rx>;
			};
		};

		port@1 {
			reg = <1>;

			wifi0_wsi_rx: endpoint {
				remote-endpoint = <&wifi2_wsi_tx>;
			};
		};
	};
};

/* 5GL radio */
&wifi2 {
	hremote_node = <&qcn9224_pcie1>;
	board_id = <0x21>;
	hw_link_id = <2 0>;
	probe-order = <3>;
	status = "okay";
};

/* 6G radio */
&wifi3 {
	hremote_node = <&qcn9224_pcie2>;
	board_id = <0x26>;
	hw_link_id = <3 0>;
	probe-order = <4>;
	status = "okay";
};

/* 5GH radio */
&wifi4 {
	hremote_node = <&qcn9224_pcie3>;
	board_id = <0x22>;
	hw_link_id = <1 0>;
	probe-order = <2>;
	status = "okay";
};
